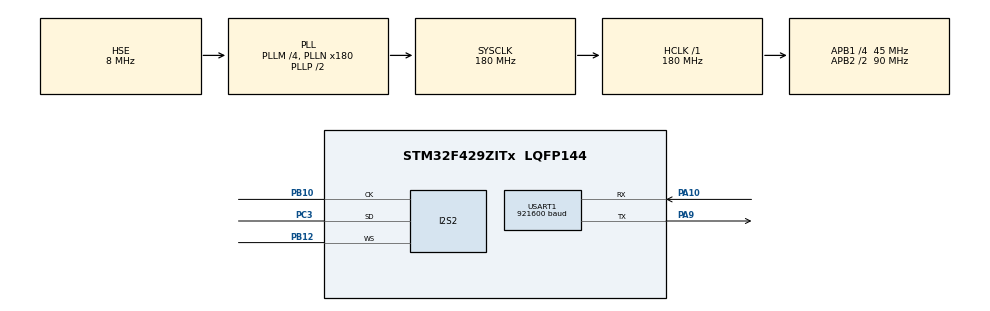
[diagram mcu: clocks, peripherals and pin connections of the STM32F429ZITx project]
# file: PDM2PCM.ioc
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Dma.Request0=SPI2_RX
Dma.Request1=USART1_TX
Dma.SPI2_RX.0.Direction=DMA_PERIPH_TO_MEMORY
Dma.SPI2_RX.0.FIFOMode=DMA_FIFOMODE_DISABLE
Dma.SPI2_RX.0.Instance=DMA1_Stream3
Dma.SPI2_RX.0.MemDataAlignment=DMA_MDATAALIGN_HALFWORD
Dma.SPI2_RX.0.MemInc=DMA_MINC_ENABLE
Dma.SPI2_RX.0.Mode=DMA_CIRCULAR
Dma.SPI2_RX.0.PeriphDataAlignment=DMA_PDATAALIGN_HALFWORD
Dma.SPI2_RX.0.PeriphInc=DMA_PINC_DISABLE
Dma.SPI2_RX.0.Priority=DMA_PRIORITY_LOW
Dma.USART1_TX.1.Direction=DMA_MEMORY_TO_PERIPH
Dma.USART1_TX.1.FIFOMode=DMA_FIFOMODE_DISABLE
Dma.USART1_TX.1.Instance=DMA2_Stream7
Dma.USART1_TX.1.MemDataAlignment=DMA_MDATAALIGN_BYTE
Dma.USART1_TX.1.MemInc=DMA_MINC_ENABLE
Dma.USART1_TX.1.Mode=DMA_NORMAL
Dma.USART1_TX.1.PeriphDataAlignment=DMA_PDATAALIGN_BYTE
Dma.USART1_TX.1.PeriphInc=DMA_PINC_DISABLE
Dma.USART1_TX.1.Priority=DMA_PRIORITY_HIGH
I2S2.AudioFreq=I2S_AUDIOFREQ_32K
I2S2.CPOL=I2S_CPOL_HIGH
I2S2.ErrorAudioFreq=0.0 %
I2S2.FullDuplexMode=I2S_FULLDUPLEXMODE_DISABLE
I2S2.Instance=SPI$Index
I2S2.Mode=I2S_MODE_MASTER_RX
I2S2.RealAudioFreq=32.0 KHz
I2S2.Standard=I2S_STANDARD_LSB
I2S2.VirtualMode=I2S_MODE_MASTER
Mcu.Family=STM32F4
Mcu.Name=STM32F429ZITx
Mcu.Package=LQFP144
NVIC.DMA1_Stream3_IRQn=true\:0\:0\:false\:false\:true\:false\:true\:true
NVIC.DMA2_Stream7_IRQn=true\:0\:0\:false\:false\:true\:false\:true\:true
NVIC.PriorityGroup=NVIC_PRIORITYGROUP_4
NVIC.SPI2_IRQn=true\:0\:0\:false\:false\:true\:true\:true\:true
NVIC.USART1_IRQn=true\:0\:0\:false\:false\:true\:true\:true\:true
PA10.Mode=Asynchronous
PA10.Signal=USART1_RX
PA13.Mode=Serial_Wire
PA13.Signal=SYS_JTMS-SWDIO
PA14.Mode=Serial_Wire
PA14.Signal=SYS_JTCK-SWCLK
PA9.Mode=Asynchronous
PA9.Signal=USART1_TX
PB10.Mode=Half_Duplex_Master
PB10.Signal=I2S2_CK
PB12.Mode=Half_Duplex_Master
PB12.Signal=I2S2_WS
PC3.Mode=Half_Duplex_Master
PC3.Signal=I2S2_SD
PDM2PCM.CHANNEL1_in_ptr_channels=1
PDM2PCM.CHANNEL1_mic_gain=24
PDM2PCM.CHANNEL1_out_ptr_channels=1
PH0/OSC_IN.Mode=HSE-External-Oscillator
PH0/OSC_IN.Signal=RCC_OSC_IN
PH1/OSC_OUT.Mode=HSE-External-Oscillator
PH1/OSC_OUT.Signal=RCC_OSC_OUT
ProjectManager.HeapSize=0x200
ProjectManager.StackSize=0x400
ProjectManager.TargetToolchain=CMake
RCC.48MHZClocksFreq_Value=90000000
RCC.AHBFreq_Value=180000000
RCC.APB1CLKDivider=RCC_HCLK_DIV4
RCC.APB1Freq_Value=45000000
RCC.APB1TimFreq_Value=90000000
RCC.APB2CLKDivider=RCC_HCLK_DIV2
RCC.APB2Freq_Value=90000000
RCC.APB2TimFreq_Value=180000000
RCC.CortexFreq_Value=180000000
RCC.HCLKFreq_Value=180000000
RCC.HSE_VALUE=8000000
RCC.HSI_VALUE=16000000
RCC.LSE_VALUE=32768
RCC.PLLI2SR=5
RCC.PLLM=4
RCC.PLLN=180
RCC.PLLSourceVirtual=RCC_PLLSOURCE_HSE
RCC.SYSCLKFreq_VALUE=180000000
RCC.SYSCLKSource=RCC_SYSCLKSOURCE_PLLCLK
RCC.VCOOutputFreq_Value=360000000
STMicroelectronics.X-CUBE-ALGOBUILD.1.4.0.LibraryCcDSPOoLibraryJjDSPOoLibrary=true
USART1.BaudRate=921600
USART1.VirtualMode=VM_ASYNC
VP_CRC_VS_CRC.Mode=CRC_Activate
VP_PDM2PCM_VS_PDM2PCM.Mode=PDM2PCM_Channel
VP_STMicroelectronics.X-CUBE-ALGOBUILD_VS_DSPOoLibraryJjLibrary_1.4.0_1.4.0.Mode=DSPOoLibraryJjLibrary
board=custom

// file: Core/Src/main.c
/* USER CODE BEGIN Header */
/**
  ******************************************************************************
  * @file           : main.c
  * @brief          : Main program body - PDM Mic to FFT/Stream
  ******************************************************************************
  */
/* USER CODE END Header */
#include "main.h"
#include "pdm2pcm.h"

/* USER CODE BEGIN Includes */
#include <stdio.h>
#include <string.h>
#include "arm_math.h"  // CMSIS-DSP Library
#include "audio_dsp.h" // Модуль спектрального аналізу та Edge AI
/* USER CODE END Includes */

/* USER CODE BEGIN PTD */

/**
 * @brief Режими роботи пристрою:
 * MODE_STREAM_PCM : Передача 16-бітного звуку на ПК через UART DMA (пакети 0xAA 0xBB + 32 байти PCM).
 *                   Використовується для перевірки мікрофона, прослуховування та збору датасету плачу.
 * MODE_DSP_EDGE_AI: Повний бортовий аналіз на мікроконтролері.
 *                   Конвертація PDM -> PCM -> Вікно Ханна -> FFT -> MFCC -> TinyML класифікація.
 */
typedef enum {
    MODE_STREAM_PCM = 0, // Стрімінг звуку на комп'ютер
    MODE_DSP_EDGE_AI = 1 // Обробка та виявлення плачу на STM32
} OperatingMode_t;

/**
 * @brief Події подвійного буфера PDM для зв'язку між DMA перериваннями та головним циклом
 */
typedef enum {
    PDM_EVENT_NONE = 0,
    PDM_EVENT_HALF_READY, // Перша половина PDM буфера готова (байти 0..127)
    PDM_EVENT_FULL_READY  // Друга половина PDM буфера готова (байти 128..255)
} PDM_BufferEvent_t;

/* USER CODE END PTD */

/* USER CODE BEGIN PD */

// ==============================================================================
// ГОЛОВНЕ НАЛАШТУВАННЯ: ОБЕРІТЬ РЕЖИМ ТУТ
// ==============================================================================
#define CURRENT_MODE        MODE_DSP_EDGE_AI // або MODE_STREAM_PCM

// ------------------------------------------------------------------------------
// МАТЕМАТИКА БУФЕРІВ PDM -> PCM:
// 1. Тактова частота I2S = 1.024 МГц (32 кГц * 32 біти на стерео-фрейм).
// 2. Коефіцієнт децимації = 64 (PDM1_filter_config.decimation_factor).
// 3. Частота дискретизації PCM = 1.024 МГц / 64 = 16 000 Гц (16 кГц).
// 4. За одну половину DMA буфера приймається 128 байт = 1024 біти PDM.
// 5. 1024 біти PDM / 64 = 16 семплів PCM (16 відліків int16_t = 32 байти звуку).
// ------------------------------------------------------------------------------
#define PDM_BUF_SIZE        256 // Розмір DMA буфера PDM у байтах (128 слів по 16 біт)
#define PCM_BUF_SIZE        16  // Кількість вихідних семплів PCM за одну децимацію

/* USER CODE END PD */

CRC_HandleTypeDef hcrc;

I2S_HandleTypeDef hi2s2;
DMA_HandleTypeDef hdma_spi2_rx;

UART_HandleTypeDef huart1;
DMA_HandleTypeDef hdma_usart1_tx;

/* USER CODE BEGIN PV */

// Буфери сирого звуку
uint8_t PDM_Buffer[PDM_BUF_SIZE];
int16_t PCM_Buffer[PCM_BUF_SIZE];

// Прапорець події від DMA I2S (переривання Half / Full Transfer)
volatile PDM_BufferEvent_t pdm_event = PDM_EVENT_NONE;

// Подвійний буфер UART TX для стрімінгу на ПК без блокування і спотворень
// Формат пакета: [0xAA] [0xBB] + [32 байти PCM] = 34 байти
static uint8_t uart_tx_dma_buf[2][34];
static uint8_t uart_tx_idx = 0;

/* USER CODE END PV */

void SystemClock_Config(void);
static void MX_GPIO_Init(void);
static void MX_DMA_Init(void);
static void MX_CRC_Init(void);
static void MX_USART1_UART_Init(void);
static void MX_I2S2_Init(void);
/* USER CODE BEGIN PFP */
static void StreamPCM_To_UART(const int16_t *pcm_data, uint16_t count);
static void PrintDSPStatus(const AudioFeatures_t *features, const AudioPrediction_t *pred);
/* USER CODE END PFP */

/* USER CODE BEGIN 0 */

/**
 * @brief Відправка 16-бітного PCM аудіо на ПК через UART DMA (non-blocking).
 *        Використовує подвійну буферизацію для усунення перешкод у звуці.
 */
static void StreamPCM_To_UART(const int16_t *pcm_data, uint16_t count) {
    if (huart1.gState == HAL_UART_STATE_READY) {
        // Заголовок синхронізації для ПК скрипта (0xAA, 0xBB)
        uart_tx_dma_buf[uart_tx_idx][0] = 0xAA;
        uart_tx_dma_buf[uart_tx_idx][1] = 0xBB;

        // Копіюємо 16 семплів int16 (32 байти)
        memcpy(&uart_tx_dma_buf[uart_tx_idx][2], pcm_data, count * sizeof(int16_t));

        // Відправляємо через DMA
        HAL_UART_Transmit_DMA(&huart1, uart_tx_dma_buf[uart_tx_idx], 34);

        // Перемикаємо буфер для наступного виклику
        uart_tx_idx ^= 1;
    }
}

/**
 * @brief Виведення результатів спектрального аналізу та Edge AI у термінал UART.
 */
static void PrintDSPStatus(const AudioFeatures_t *features, const AudioPrediction_t *pred) {
    static uint32_t last_print = 0;
    uint32_t now = HAL_GetTick();

    // Друкуємо кожні 250 мс, або негайно, якщо виявлено дитячий плач
    if ((now - last_print >= 250) || (pred->predicted_class == SOUND_CLASS_BABY_CRY)) {
        last_print = now;
        char msg[128];

        if (pred->predicted_class == SOUND_CLASS_BABY_CRY) {
            LED_RED_ON();
            LED_GREEN_OFF();
            snprintf(msg, sizeof(msg),
                     "\r\n[!!! BABY CRY DETECTED !!!] Pitch: %.1f Hz | CryBand: %.0f%% | CryProb: %.2f\r\n",
                     features->dominant_frequency,
                     features->cry_energy_ratio * 100.0f,
                     pred->prob_baby_cry);
        } else if (pred->predicted_class == SOUND_CLASS_SPEECH) {
            LED_RED_OFF();
            LED_GREEN_ON();
            snprintf(msg, sizeof(msg),
                     "[SPEECH] Pitch: %.1f Hz | CryBand: %.0f%% | SpeechProb: %.2f\r\n",
                     features->dominant_frequency,
                     features->cry_energy_ratio * 100.0f,
                     pred->prob_speech);
        } else {
            LED_RED_OFF();
            LED_GREEN_TOGGLE(); // Індикація фонового моніторингу (heartbeat)
            snprintf(msg, sizeof(msg),
                     "[NOISE/SILENCE] DomFreq: %.1f Hz | TotalEnergy: %.2f | NoiseProb: %.2f\r\n",
                     features->dominant_frequency,
                     features->total_energy,
                     pred->prob_noise);
        }

        HAL_UART_Transmit(&huart1, (uint8_t*)msg, strlen(msg), 50);
    }
}

/* USER CODE END 0 */

int main(void)
{

  /* MCU Configuration--------------------------------------------------------*/

  /* Reset of all peripherals, Initializes the Flash interface and the Systick. */
  HAL_Init();

  /* Configure the system clock */
  SystemClock_Config();

  /* Initialize all configured peripherals */
  MX_GPIO_Init();
  MX_DMA_Init();
  MX_CRC_Init();
  MX_USART1_UART_Init();
  MX_PDM2PCM_Init();
  MX_I2S2_Init();
  /* USER CODE BEGIN 2 */

  // 1. Ініціалізація алгоритмічного стеку DSP (CMSIS-DSP RFFT, Hann Window, Mel Filterbank, DCT)
  if (AudioDSP_Init() != 0) {
      char err[] = "Audio DSP Init FAILED!\r\n";
      HAL_UART_Transmit(&huart1, (uint8_t*)err, strlen(err), 100);
      Error_Handler();
  }

  // 2. Стартове інформаційне повідомлення
  char start_msg[256];
  snprintf(start_msg, sizeof(start_msg),
           "\r\n========================================\r\n"
           " STM32F429 Audio DSP & Edge AI Pipeline\r\n"
           " PDM Mic: MP34DT01 | Fs: 16000 Hz\r\n"
           " Active Mode: %s\r\n"
           "========================================\r\n\r\n",
           (CURRENT_MODE == MODE_DSP_EDGE_AI) ? "On-board DSP + AI (Cry Detector)" : "PCM Stream to PC");
  HAL_UART_Transmit(&huart1, (uint8_t*)start_msg, strlen(start_msg), 100);

  // 3. Очищення буферів перед стартом
  memset(PDM_Buffer, 0, sizeof(PDM_Buffer));
  memset(PCM_Buffer, 0, sizeof(PCM_Buffer));
  pdm_event = PDM_EVENT_NONE;

  // 4. Запуск постійного прийому PDM-потоку з мікрофона через I2S + DMA
  // Розмір вказується у 16-бітних словах, тому ділимо PDM_BUF_SIZE на 2
  if (HAL_I2S_Receive_DMA(&hi2s2, (uint16_t*)PDM_Buffer, PDM_BUF_SIZE / 2) != HAL_OK) {
      Error_Handler();
  }

  /* USER CODE END 2 */

  /* Infinite loop */
  while (1)
  {

    /* USER CODE BEGIN 3 */

    // Перевіряємо, чи DMA заповнив половину (Ping) або повний буфер (Pong)
    if (pdm_event != PDM_EVENT_NONE)
    {
        // Визначаємо адресу поточної готової половини буфера PDM
        uint16_t *pdm_chunk = (pdm_event == PDM_EVENT_HALF_READY) ?
                              (uint16_t*)&PDM_Buffer[0] :
                              (uint16_t*)&PDM_Buffer[PDM_BUF_SIZE / 2];

        pdm_event = PDM_EVENT_NONE; // Скидаємо прапорець

        // КРОК 1: PDM -> PCM Конвертація (Децимація на 64 + цифрова фільтрація)
        // 1024 біти сирого PDM перетворюються на 16 якісних 16-бітних відліків PCM
        if (MX_PDM2PCM_Process(pdm_chunk, (uint16_t*)PCM_Buffer) == 0)
        {
            if (CURRENT_MODE == MODE_STREAM_PCM)
            {
                // Режим 1: Передача звуку на ПК через UART DMA (для запису датасету чи прослуховування)
                StreamPCM_To_UART(PCM_Buffer, PCM_BUF_SIZE);
            }
            else if (CURRENT_MODE == MODE_DSP_EDGE_AI)
            {
                // Режим 2: Бортовий аналіз на мікроконтролері
                // Додаємо нові 16 семплів у буфер накопичення вікна аналізу (512 відліків = 32 мс)
                if (AudioDSP_FeedSamples(PCM_Buffer, PCM_BUF_SIZE))
                {
                    AudioFeatures_t features;
                    AudioPrediction_t prediction;

                    // КРОК 2, 3, 4: Вікно Ханна -> ШПФ (FFT) -> MFCC (Мел-спектр) -> Вилучення ознак
                    AudioDSP_ProcessFrame(&features);

                    // КРОК 5: Класифікація TinyML / Edge AI (Дитячий плач vs Голос vs Шум)
                    AudioDSP_Classify(&features, &prediction);

                    // Відображення результатів у UART терміналі
                    PrintDSPStatus(&features, &prediction);
                }
            }
        }
    }
  }
  /* USER CODE END 3 */
}

void SystemClock_Config(void)
{
  RCC_OscInitTypeDef RCC_OscInitStruct = {0};
  RCC_ClkInitTypeDef RCC_ClkInitStruct = {0};

  /** Configure the main internal regulator output voltage
  */
  __HAL_RCC_PWR_CLK_ENABLE();
  __HAL_PWR_VOLTAGESCALING_CONFIG(PWR_REGULATOR_VOLTAGE_SCALE1);

  /** Initializes the RCC Oscillators according to the specified parameters
  * in the RCC_OscInitTypeDef structure.
  */
  RCC_OscInitStruct.OscillatorType = RCC_OSCILLATORTYPE_HSE;
  RCC_OscInitStruct.HSEState = RCC_HSE_ON;
  RCC_OscInitStruct.PLL.PLLState = RCC_PLL_ON;
  RCC_OscInitStruct.PLL.PLLSource = RCC_PLLSOURCE_HSE;
  RCC_OscInitStruct.PLL.PLLM = 4;
  RCC_OscInitStruct.PLL.PLLN = 180;
  RCC_OscInitStruct.PLL.PLLP = RCC_PLLP_DIV2;
  RCC_OscInitStruct.PLL.PLLQ = 4;
  if (HAL_RCC_OscConfig(&RCC_OscInitStruct) != HAL_OK)
  {
    Error_Handler();
  }

  /** Activate the Over-Drive mode
  */
  if (HAL_PWREx_EnableOverDrive() != HAL_OK)
  {
    Error_Handler();
  }

  /** Initializes the CPU, AHB and APB buses clocks
  */
  RCC_ClkInitStruct.ClockType = RCC_CLOCKTYPE_HCLK|RCC_CLOCKTYPE_SYSCLK
                              |RCC_CLOCKTYPE_PCLK1|RCC_CLOCKTYPE_PCLK2;
  RCC_ClkInitStruct.SYSCLKSource = RCC_SYSCLKSOURCE_PLLCLK;
  RCC_ClkInitStruct.AHBCLKDivider = RCC_SYSCLK_DIV1;
  RCC_ClkInitStruct.APB1CLKDivider = RCC_HCLK_DIV4;
  RCC_ClkInitStruct.APB2CLKDivider = RCC_HCLK_DIV2;

  if (HAL_RCC_ClockConfig(&RCC_ClkInitStruct, FLASH_LATENCY_5) != HAL_OK)
  {
    Error_Handler();
  }
}

static void MX_CRC_Init(void)
{

  hcrc.Instance = CRC;
  if (HAL_CRC_Init(&hcrc) != HAL_OK)
  {
    Error_Handler();
  }
  __HAL_CRC_DR_RESET(&hcrc);

}

static void MX_I2S2_Init(void)
{

  hi2s2.Instance = SPI2;
  hi2s2.Init.Mode = I2S_MODE_MASTER_RX;
  hi2s2.Init.Standard = I2S_STANDARD_LSB;
  hi2s2.Init.DataFormat = I2S_DATAFORMAT_16B;
  hi2s2.Init.MCLKOutput = I2S_MCLKOUTPUT_DISABLE;
  hi2s2.Init.AudioFreq = I2S_AUDIOFREQ_32K;
  hi2s2.Init.CPOL = I2S_CPOL_LOW;
  hi2s2.Init.ClockSource = I2S_CLOCK_PLL;
  hi2s2.Init.FullDuplexMode = I2S_FULLDUPLEXMODE_DISABLE;
  if (HAL_I2S_Init(&hi2s2) != HAL_OK)
  {
    Error_Handler();
  }

}

static void MX_USART1_UART_Init(void)
{

  huart1.Instance = USART1;
  huart1.Init.BaudRate = 921600;
  huart1.Init.WordLength = UART_WORDLENGTH_8B;
  huart1.Init.StopBits = UART_STOPBITS_1;
  huart1.Init.Parity = UART_PARITY_NONE;
  huart1.Init.Mode = UART_MODE_TX_RX;
  huart1.Init.HwFlowCtl = UART_HWCONTROL_NONE;
  huart1.Init.OverSampling = UART_OVERSAMPLING_16;
  if (HAL_UART_Init(&huart1) != HAL_OK)
  {
    Error_Handler();
  }

}

static void MX_DMA_Init(void)
{

  /* DMA controller clock enable */
  __HAL_RCC_DMA1_CLK_ENABLE();
  __HAL_RCC_DMA2_CLK_ENABLE();

  /* DMA interrupt init */
  /* DMA1_Stream3_IRQn interrupt configuration */
  HAL_NVIC_SetPriority(DMA1_Stream3_IRQn, 0, 0);
  HAL_NVIC_EnableIRQ(DMA1_Stream3_IRQn);
  /* DMA2_Stream7_IRQn interrupt configuration */
  HAL_NVIC_SetPriority(DMA2_Stream7_IRQn, 0, 0);
  HAL_NVIC_EnableIRQ(DMA2_Stream7_IRQn);

}

static void MX_GPIO_Init(void)
{
  GPIO_InitTypeDef GPIO_InitStruct = {0};

  /* GPIO Ports Clock Enable */
  __HAL_RCC_GPIOH_CLK_ENABLE();
  __HAL_RCC_GPIOC_CLK_ENABLE();
  __HAL_RCC_GPIOB_CLK_ENABLE();
  __HAL_RCC_GPIOA_CLK_ENABLE();
  __HAL_RCC_GPIOG_CLK_ENABLE();

  /*Configure GPIO pin Output Level */
  HAL_GPIO_WritePin(GPIOG, LED_GREEN_PIN | LED_RED_PIN, GPIO_PIN_RESET);

  /*Configure GPIO pins : PG13 PG14 (LED3 Green, LED4 Red) */
  GPIO_InitStruct.Pin = LED_GREEN_PIN | LED_RED_PIN;
  GPIO_InitStruct.Mode = GPIO_MODE_OUTPUT_PP;
  GPIO_InitStruct.Pull = GPIO_NOPULL;
  GPIO_InitStruct.Speed = GPIO_SPEED_FREQ_LOW;
  HAL_GPIO_Init(GPIOG, &GPIO_InitStruct);

}

/* USER CODE BEGIN 4 */

/**
  * @brief  Колбек, що викликається DMA по заповненню ПЕРШОЇ половини PDM-буфера (Ping).
  */
void HAL_I2S_RxHalfCpltCallback(I2S_HandleTypeDef *hi2s)
{
    if (hi2s->Instance == SPI2) {
        pdm_event = PDM_EVENT_HALF_READY;
    }
}

/**
  * @brief  Колбек, що викликається DMA по заповненню ДРУГОЇ половини PDM-буфера (Pong).
  */
void HAL_I2S_RxCpltCallback(I2S_HandleTypeDef *hi2s)
{
    if (hi2s->Instance == SPI2) {
        pdm_event = PDM_EVENT_FULL_READY;
    }
}

/**
  * @brief  Колбек помилки I2S.
  */
void HAL_I2S_ErrorCallback(I2S_HandleTypeDef *hi2s)
{
    if (hi2s->Instance == SPI2) {
        Error_Handler();
    }
}

/* USER CODE END 4 */

void Error_Handler(void)
{
  __disable_irq();
  while (1)
  {
  }
}
